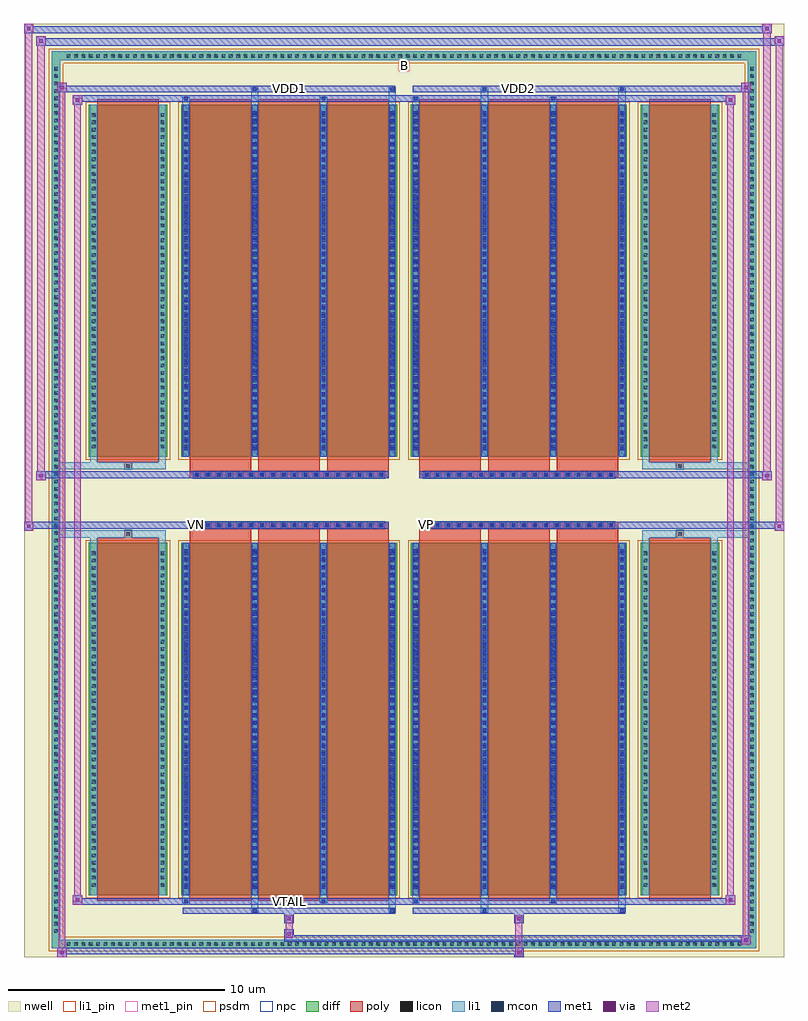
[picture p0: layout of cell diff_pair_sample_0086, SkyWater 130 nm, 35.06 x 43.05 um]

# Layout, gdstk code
import gdstk
lib = gdstk.Library(unit=1e-6, precision=5e-09)
def R(c, l, rs):  # rectangles x0, y0, x1, y1
    for r in rs: c.add(gdstk.rectangle(r[:2], r[2:], *l))
def A(c, l, x, y, w, h, nx, ny, dx, dy):  # array of equal rectangles
    R(c, l, [(x+i*dx, y+j*dy, x+i*dx+w, y+j*dy+h) for i in range(nx) for j in range(ny)])
def P(c, l, *ps):  # polygons
    for p in ps: c.add(gdstk.Polygon(p, *l))
nwell = (64, 20)
diff = (65, 20)
poly = (66, 20)
licon = (66, 44)
li1_pin = (67, 16)
li1 = (67, 20)
mcon = (67, 44)
met1_pin = (68, 16)
met1 = (68, 20)
via = (68, 44)
met2 = (69, 20)
psdm = (94, 20)
npc = (95, 20)

diff_pair_sample_0086 = lib.new_cell('diff_pair_sample_0086')
R(diff_pair_sample_0086, nwell, [(-17.53,-21.09,17.53,21.96), (-14.85,-19.28,-0.01,-0.8), (0.01,-19.28,14.85,-0.8), (-14.85,0.8,-0.01,19.28), (0.01,0.8,14.85,19.28)])
A(diff_pair_sample_0086, diff, -15.675, -20.69, 0.41, 0.41, 92, 2, 0.34, 40.97)
A(diff_pair_sample_0086, diff, -16.26, -20.095, 0.41, 0.41, 1, 118, 0, 0.34)
A(diff_pair_sample_0086, diff, 15.85, -20.095, 0.41, 0.41, 1, 118, 0, 0.34)
R(diff_pair_sample_0086, diff, [(-15.675,-20.69,15.675,-20.28), (-16.26,-20.095,-15.85,20.095), (15.85,-20.095,16.26,20.095), (-14.54,-18.235,-10.92,-1.985), (-10.28,-18.235,-0.32,-1.985), (0.32,-18.235,10.28,-1.985), (10.92,-18.235,14.54,-1.985), (-14.54,1.985,-10.92,18.235), (-10.28,1.985,-0.32,18.235), (0.32,1.985,10.28,18.235), (10.92,1.985,14.54,18.235), (-15.675,20.28,15.675,20.69)])
P(diff_pair_sample_0086, diff, [(16.26,20.69),(-16.26,20.69),(-16.26,-20.28),(-15.85,-20.28),(-15.85,20.28),(15.85,20.28),(15.85,-20.28),(-15.85,-20.28),(-16.26,-20.28),(-16.26,-20.69),(16.26,-20.69)])
A(diff_pair_sample_0086, poly, -9.89, -18.485, 2.84, 16.75, 3, 2, 3.17, 20.22)
A(diff_pair_sample_0086, poly, 0.71, -18.485, 2.84, 16.75, 3, 2, 3.17, 20.22)
A(diff_pair_sample_0086, poly, -9.89, -1.735, 2.84, 0.405, 3, 2, 3.17, 3.065)
A(diff_pair_sample_0086, poly, 0.71, -1.735, 2.84, 0.405, 3, 2, 3.17, 3.065)
A(diff_pair_sample_0086, poly, -9.715, -1.33, 0.33, 0.33, 18, 2, 0.5, 2.33)
A(diff_pair_sample_0086, poly, 0.885, -1.33, 0.33, 0.33, 18, 2, 0.5, 2.33)
R(diff_pair_sample_0086, poly, [(-14.15,-18.485,-11.31,-1.735), (11.31,-18.485,14.15,-1.735), (-12.895,-1.735,-12.565,-1.405), (-12.895,-1.735,-12.565,-1.405), (12.565,-1.735,12.895,-1.405), (12.565,-1.735,12.895,-1.405), (-9.89,-1.33,-0.71,-1), (0.71,-1.33,9.89,-1), (-9.89,1,-0.71,1.33), (0.71,1,9.89,1.33), (-12.895,1.405,-12.565,1.735), (-12.895,1.405,-12.565,1.735), (12.565,1.405,12.895,1.735), (12.565,1.405,12.895,1.735), (-14.15,1.735,-11.31,18.485), (11.31,1.735,14.15,18.485)])
A(diff_pair_sample_0086, licon, -15.555, -20.57, 0.17, 0.17, 92, 2, 0.34, 40.97)
A(diff_pair_sample_0086, licon, -16.14, -19.975, 0.17, 0.17, 1, 118, 0, 0.34)
A(diff_pair_sample_0086, licon, 15.97, -19.975, 0.17, 0.17, 1, 118, 0, 0.34)
A(diff_pair_sample_0086, licon, -14.4, -17.845, 0.17, 0.17, 1, 46, 0, 0.34)
A(diff_pair_sample_0086, licon, -11.23, -17.845, 0.17, 0.17, 1, 46, 0, 0.34)
A(diff_pair_sample_0086, licon, -10.14, -17.845, 0.17, 0.17, 4, 46, 3.17, 0.34)
A(diff_pair_sample_0086, licon, 0.46, -17.845, 0.17, 0.17, 4, 46, 3.17, 0.34)
A(diff_pair_sample_0086, licon, 11.06, -17.845, 0.17, 0.17, 1, 46, 0, 0.34)
A(diff_pair_sample_0086, licon, 14.23, -17.845, 0.17, 0.17, 1, 46, 0, 0.34)
A(diff_pair_sample_0086, licon, -9.635, -1.25, 0.17, 0.17, 18, 2, 0.5, 2.33)
A(diff_pair_sample_0086, licon, 0.965, -1.25, 0.17, 0.17, 18, 2, 0.5, 2.33)
A(diff_pair_sample_0086, licon, -14.4, 2.375, 0.17, 0.17, 1, 46, 0, 0.34)
A(diff_pair_sample_0086, licon, -11.23, 2.375, 0.17, 0.17, 1, 46, 0, 0.34)
A(diff_pair_sample_0086, licon, -10.14, 2.375, 0.17, 0.17, 4, 46, 3.17, 0.34)
A(diff_pair_sample_0086, licon, 0.46, 2.375, 0.17, 0.17, 4, 46, 3.17, 0.34)
A(diff_pair_sample_0086, licon, 11.06, 2.375, 0.17, 0.17, 1, 46, 0, 0.34)
A(diff_pair_sample_0086, licon, 14.23, 2.375, 0.17, 0.17, 1, 46, 0, 0.34)
R(diff_pair_sample_0086, licon, [(-12.815,-1.655,-12.645,-1.485), (12.645,-1.655,12.815,-1.485), (-12.815,1.485,-12.645,1.655), (12.645,1.485,12.815,1.655)])
R(diff_pair_sample_0086, li1_pin, [(-0.25,19.78,0.25,20.28)])
A(diff_pair_sample_0086, li1, -15.635, -20.65, 0.33, 0.33, 92, 2, 0.34, 40.97)
A(diff_pair_sample_0086, li1, -16.22, -20.055, 0.33, 0.33, 1, 118, 0, 0.34)
A(diff_pair_sample_0086, li1, 15.89, -20.055, 0.33, 0.33, 1, 118, 0, 0.34)
A(diff_pair_sample_0086, li1, -10.22, -18.235, 0.33, 16.25, 4, 2, 3.17, 20.22)
A(diff_pair_sample_0086, li1, 0.38, -18.235, 0.33, 16.25, 4, 2, 3.17, 20.22)
A(diff_pair_sample_0086, li1, -10.14, -17.935, 0.17, 0.17, 4, 44, 3.17, 0.36)
A(diff_pair_sample_0086, li1, -10.14, -17.935, 0.17, 15.65, 4, 2, 3.17, 20.22)
A(diff_pair_sample_0086, li1, 0.46, -17.935, 0.17, 0.17, 4, 44, 3.17, 0.36)
A(diff_pair_sample_0086, li1, 0.46, -17.935, 0.17, 15.65, 4, 2, 3.17, 20.22)
A(diff_pair_sample_0086, li1, -14.48, -17.925, 0.33, 0.33, 1, 46, 0, 0.34)
A(diff_pair_sample_0086, li1, -11.31, -17.925, 0.33, 0.33, 1, 46, 0, 0.34)
A(diff_pair_sample_0086, li1, -10.22, -17.925, 0.33, 0.33, 4, 46, 3.17, 0.34)
A(diff_pair_sample_0086, li1, 0.38, -17.925, 0.33, 0.33, 4, 46, 3.17, 0.34)
A(diff_pair_sample_0086, li1, 10.98, -17.925, 0.33, 0.33, 1, 46, 0, 0.34)
A(diff_pair_sample_0086, li1, 14.15, -17.925, 0.33, 0.33, 1, 46, 0, 0.34)
A(diff_pair_sample_0086, li1, -9.715, -1.33, 0.33, 0.33, 18, 2, 0.5, 2.33)
A(diff_pair_sample_0086, li1, 0.885, -1.33, 0.33, 0.33, 18, 2, 0.5, 2.33)
A(diff_pair_sample_0086, li1, -10.14, 2.285, 0.17, 0.17, 4, 44, 3.17, 0.36)
A(diff_pair_sample_0086, li1, 0.46, 2.285, 0.17, 0.17, 4, 44, 3.17, 0.36)
A(diff_pair_sample_0086, li1, -14.48, 2.295, 0.33, 0.33, 1, 46, 0, 0.34)
A(diff_pair_sample_0086, li1, -11.31, 2.295, 0.33, 0.33, 1, 46, 0, 0.34)
A(diff_pair_sample_0086, li1, -10.22, 2.295, 0.33, 0.33, 4, 46, 3.17, 0.34)
A(diff_pair_sample_0086, li1, 0.38, 2.295, 0.33, 0.33, 4, 46, 3.17, 0.34)
A(diff_pair_sample_0086, li1, 10.98, 2.295, 0.33, 0.33, 1, 46, 0, 0.34)
A(diff_pair_sample_0086, li1, 14.15, 2.295, 0.33, 0.33, 1, 46, 0, 0.34)
R(diff_pair_sample_0086, li1, [(-16.26,-20.69,-15.85,-20.28), (-16.26,-20.69,-15.85,-20.28), (-15.85,-20.69,15.85,-20.28), (15.85,-20.69,16.26,-20.28), (15.85,-20.69,16.26,-20.28), (-16.26,-20.28,-15.85,20.28), (15.85,-20.28,16.26,20.28), (-7.05,-19.04,-6.72,-18.235), (-6.97,-19.04,-6.8,-18.87), (-0.71,-19.04,-0.38,-18.235), (-0.63,-19.04,-0.46,-18.87), (3.55,-19.04,3.88,-18.235), (3.63,-19.04,3.8,-18.87), (9.89,-19.04,10.22,-18.235), (9.97,-19.04,10.14,-18.87), (-10.22,-18.61,-9.89,-18.235), (-10.14,-18.61,-9.97,-18.44), (-3.88,-18.61,-3.55,-18.235), (-3.8,-18.61,-3.63,-18.44), (0.38,-18.61,0.71,-18.235), (0.46,-18.61,0.63,-18.44), (6.72,-18.61,7.05,-18.235), (6.8,-18.61,6.97,-18.44), (-14.48,-18.235,-14.15,-1.985), (-11.31,-18.235,-10.98,-1.985), (10.98,-18.235,11.31,-1.985), (14.15,-18.235,14.48,-1.985), (-14.48,-1.985,-14.15,-1.405), (-11.31,-1.985,-10.98,-1.405), (10.98,-1.985,11.31,-1.405), (14.15,-1.985,14.48,-1.405), (-16.26,-1.735,-12.895,-1.405), (-14.48,-1.735,-12.895,-1.405), (-12.895,-1.735,-12.565,-1.405), (-12.565,-1.735,-10.98,-1.405), (10.98,-1.735,12.565,-1.405), (12.565,-1.735,12.895,-1.405), (12.565,-1.735,16.26,-1.405), (12.895,-1.735,14.48,-1.405), (-16.26,1.405,-12.895,1.735), (-14.48,1.405,-12.895,1.735), (-14.48,1.405,-14.15,1.985), (-12.895,1.405,-12.565,1.735), (-12.565,1.405,-10.98,1.735), (-11.31,1.405,-10.98,1.985), (10.98,1.405,12.565,1.735), (10.98,1.405,11.31,1.985), (12.565,1.405,12.895,1.735), (12.565,1.405,16.26,1.735), (12.895,1.405,14.48,1.735), (14.15,1.405,14.48,1.985), (-14.48,1.985,-14.15,18.235), (-11.31,1.985,-10.98,18.235), (10.98,1.985,11.31,18.235), (14.15,1.985,14.48,18.235), (-10.22,18.235,-9.89,18.61), (-7.05,18.235,-6.72,19.04), (-3.88,18.235,-3.55,18.61), (-0.71,18.235,-0.38,19.04), (0.38,18.235,0.71,18.61), (3.55,18.235,3.88,19.04), (6.72,18.235,7.05,18.61), (9.89,18.235,10.22,19.04), (-10.14,18.44,-9.97,18.61), (-3.8,18.44,-3.63,18.61), (0.46,18.44,0.63,18.61), (6.8,18.44,6.97,18.61), (-6.97,18.87,-6.8,19.04), (-0.63,18.87,-0.46,19.04), (3.63,18.87,3.8,19.04), (9.97,18.87,10.14,19.04), (-16.26,20.28,-15.85,20.69), (-16.26,20.28,-15.85,20.69), (-15.85,20.28,15.85,20.69), (15.85,20.28,16.26,20.69), (15.85,20.28,16.26,20.69)])
A(diff_pair_sample_0086, mcon, -10.14, -17.935, 0.17, 0.17, 4, 44, 3.17, 0.36)
A(diff_pair_sample_0086, mcon, 0.46, -17.935, 0.17, 0.17, 4, 44, 3.17, 0.36)
A(diff_pair_sample_0086, mcon, -9.635, -1.25, 0.17, 0.17, 18, 2, 0.5, 2.33)
A(diff_pair_sample_0086, mcon, 0.965, -1.25, 0.17, 0.17, 18, 2, 0.5, 2.33)
A(diff_pair_sample_0086, mcon, -10.14, 2.285, 0.17, 0.17, 4, 44, 3.17, 0.36)
A(diff_pair_sample_0086, mcon, 0.46, 2.285, 0.17, 0.17, 4, 44, 3.17, 0.36)
R(diff_pair_sample_0086, mcon, [(-6.97,-19.04,-6.8,-18.87), (-0.63,-19.04,-0.46,-18.87), (3.63,-19.04,3.8,-18.87), (9.97,-19.04,10.14,-18.87), (-10.14,-18.61,-9.97,-18.44), (-3.8,-18.61,-3.63,-18.44), (0.46,-18.61,0.63,-18.44), (6.8,-18.61,6.97,-18.44), (-10.14,18.44,-9.97,18.61), (-3.8,18.44,-3.63,18.61), (0.46,18.44,0.63,18.61), (6.8,18.44,6.97,18.61), (-6.97,18.87,-6.8,19.04), (-0.63,18.87,-0.46,19.04), (3.63,18.87,3.8,19.04), (9.97,18.87,10.14,19.04)])
R(diff_pair_sample_0086, met1_pin, [(-5.435,-18.65,-5.165,-18.38), (-9.685,-1.29,-9.415,-1.02), (0.915,-1.29,1.185,-1.02), (-5.435,18.83,-5.165,19.1), (5.165,18.83,5.435,19.1)])
A(diff_pair_sample_0086, met1, -10.2, -18.235, 0.29, 16.25, 4, 2, 3.17, 20.22)
A(diff_pair_sample_0086, met1, 0.4, -18.235, 0.29, 16.25, 4, 2, 3.17, 20.22)
A(diff_pair_sample_0086, met1, -10.2, -17.995, 0.29, 0.29, 4, 44, 3.17, 0.36)
A(diff_pair_sample_0086, met1, 0.4, -17.995, 0.29, 0.29, 4, 44, 3.17, 0.36)
A(diff_pair_sample_0086, met1, -9.695, -1.31, 0.29, 0.29, 18, 2, 0.5, 2.33)
A(diff_pair_sample_0086, met1, 0.905, -1.31, 0.29, 0.29, 18, 2, 0.5, 2.33)
A(diff_pair_sample_0086, met1, -10.2, 2.225, 0.29, 0.29, 4, 44, 3.17, 0.36)
A(diff_pair_sample_0086, met1, 0.4, 2.225, 0.29, 0.29, 4, 44, 3.17, 0.36)
R(diff_pair_sample_0086, met1, [(-15.99,-21.09,-15.56,-20.66), (5.085,-21.09,5.515,-20.66), (-15.99,-20.95,5.515,-20.66), (15.56,-20.52,15.99,-20.09), (-5.515,-20.38,15.99,-20.09), (-5.515,-20.24,-5.085,-19.81), (-5.515,-19.53,-5.085,-19.1), (5.085,-19.53,5.515,-19.1), (-10.2,-19.1,-0.4,-18.81), (-7.03,-19.1,-6.74,-18.81), (-0.69,-19.1,-0.4,-18.81), (0.4,-19.1,10.2,-18.81), (3.57,-19.1,3.86,-18.81), (9.91,-19.1,10.2,-18.81), (-15.28,-18.67,-14.85,-18.24), (-15.28,-18.67,-10.2,-18.38), (-10.2,-18.67,-9.91,-18.38), (-10.2,-18.67,-0.4,-18.38), (-3.86,-18.67,-3.57,-18.38), (-0.4,-18.67,0.4,-18.38), (0.4,-18.67,0.69,-18.38), (0.4,-18.67,10.2,-18.38), (6.74,-18.67,7.03,-18.38), (10.2,-18.67,15.28,-18.38), (14.85,-18.67,15.28,-18.24), (-17.53,-1.43,-17.1,-1), (17.1,-1.43,17.53,-1), (-17.53,-1.33,-0.71,-1), (-9.89,-1.33,-0.71,-1), (0.71,-1.33,9.89,-1), (0.71,-1.33,17.53,-1), (-16.96,0.9,-16.53,1.33), (16.53,0.9,16.96,1.33), (-16.96,1,-9.89,1.33), (-9.89,1,-0.71,1.33), (0.71,1,9.89,1.33), (9.89,1,16.96,1.33), (-15.28,18.24,-14.85,18.67), (14.85,18.24,15.28,18.67), (-15.28,18.38,-10.2,18.67), (-10.2,18.38,-9.91,18.67), (-10.2,18.38,-0.4,18.67), (-3.86,18.38,-3.57,18.67), (-0.4,18.38,0.4,18.67), (0.4,18.38,0.69,18.67), (0.4,18.38,10.2,18.67), (6.74,18.38,7.03,18.67), (10.2,18.38,15.28,18.67), (-15.99,18.81,-15.56,19.24), (-15.99,18.81,-10.2,19.1), (-10.2,18.81,-0.4,19.1), (-7.03,18.81,-6.74,19.1), (-0.69,18.81,-0.4,19.1), (0.4,18.81,10.2,19.1), (3.57,18.81,3.86,19.1), (9.91,18.81,10.2,19.1), (10.2,18.81,15.99,19.1), (15.56,18.81,15.99,19.24), (-16.96,20.96,-16.53,21.39), (-16.96,20.96,-14.85,21.29), (-14.85,20.96,14.85,21.29), (14.85,20.96,17.53,21.29), (17.1,20.96,17.53,21.39), (-17.53,21.53,-17.1,21.96), (-17.53,21.53,-14.85,21.86), (-14.85,21.53,14.85,21.86), (14.85,21.53,16.96,21.86), (16.53,21.53,16.96,21.96)])
R(diff_pair_sample_0086, via, [(-15.85,-20.95,-15.7,-20.8), (5.225,-20.95,5.375,-20.8), (15.7,-20.38,15.85,-20.23), (-5.375,-20.1,-5.225,-19.95), (-5.375,-19.39,-5.225,-19.24), (5.225,-19.39,5.375,-19.24), (-15.14,-18.53,-14.99,-18.38), (14.99,-18.53,15.14,-18.38), (-17.39,-1.29,-17.24,-1.14), (17.24,-1.29,17.39,-1.14), (-16.82,1.04,-16.67,1.19), (16.67,1.04,16.82,1.19), (-15.14,18.38,-14.99,18.53), (14.99,18.38,15.14,18.53), (-15.85,18.95,-15.7,19.1), (15.7,18.95,15.85,19.1), (-16.82,21.1,-16.67,21.25), (17.24,21.1,17.39,21.25), (-17.39,21.67,-17.24,21.82), (16.67,21.67,16.82,21.82)])
R(diff_pair_sample_0086, met2, [(-15.99,-21.09,-15.56,-20.66), (-15.92,-21.09,-15.63,19.24), (-15.63,-21.09,-15.56,-20.66), (-15.94,-21.04,-15.61,-20.71), (5.135,-21.04,5.465,-20.71), (5.135,-20.71,5.465,-19.48), (15.56,-20.52,15.99,-20.09), (15.63,-20.52,15.92,19.24), (15.92,-20.52,15.99,-20.09), (15.61,-20.47,15.94,-20.14), (-5.465,-20.19,-5.135,-19.86), (-5.465,-19.86,-5.135,-19.48), (-5.465,-19.48,-5.135,-19.15), (5.135,-19.48,5.465,-19.15), (-15.28,-18.67,-14.85,-18.24), (-15.21,-18.67,-14.92,18.67), (-14.92,-18.67,-14.85,-18.24), (14.85,-18.67,15.28,-18.24), (14.92,-18.67,15.21,18.67), (15.21,-18.67,15.28,-18.24), (-15.23,-18.62,-14.9,-18.29), (14.9,-18.62,15.23,-18.29), (-17.53,-1.43,-17.1,-1), (-17.48,-1.43,-17.15,21.96), (-17.15,-1.43,-17.1,-1), (17.1,-1.43,17.53,-1), (17.15,-1.43,17.48,21.39), (17.48,-1.43,17.53,-1), (-17.48,-1.38,-17.15,-1.05), (17.15,-1.38,17.48,-1.05), (-16.96,0.9,-16.53,1.33), (-16.91,0.9,-16.58,21.39), (-16.58,0.9,-16.53,1.33), (16.53,0.9,16.96,1.33), (16.58,0.9,16.91,21.96), (16.91,0.9,16.96,1.33), (-16.91,0.95,-16.58,1.28), (16.58,0.95,16.91,1.28), (-15.28,18.24,-14.85,18.67), (-14.92,18.24,-14.85,18.67), (14.85,18.24,15.28,18.67), (15.21,18.24,15.28,18.67), (-15.23,18.29,-14.9,18.62), (14.9,18.29,15.23,18.62), (-15.99,18.81,-15.56,19.24), (-15.63,18.81,-15.56,19.24), (15.56,18.81,15.99,19.24), (15.92,18.81,15.99,19.24), (-15.94,18.86,-15.61,19.19), (15.61,18.86,15.94,19.19), (-16.96,20.96,-16.53,21.39), (-16.58,20.96,-16.53,21.39), (17.1,20.96,17.53,21.39), (17.48,20.96,17.53,21.39), (-16.91,21.01,-16.58,21.34), (17.15,21.01,17.48,21.34), (-17.53,21.53,-17.1,21.96), (-17.15,21.53,-17.1,21.96), (16.53,21.53,16.96,21.96), (16.91,21.53,16.96,21.96), (-17.48,21.58,-17.15,21.91), (16.58,21.58,16.91,21.91)])
R(diff_pair_sample_0086, psdm, [(-14.67,-18.365,-10.79,-1.855), (-10.41,-18.365,-0.19,-1.855), (0.19,-18.365,10.41,-1.855), (10.79,-18.365,14.67,-1.855), (-14.67,1.855,-10.79,18.365), (-10.41,1.855,-0.19,18.365), (0.19,1.855,10.41,18.365), (10.79,1.855,14.67,18.365)])
P(diff_pair_sample_0086, psdm, [(16.39,20.82),(-16.39,20.82),(-16.39,-20.15),(-15.72,-20.15),(-15.72,20.15),(15.72,20.15),(15.72,-20.15),(-15.72,-20.15),(-16.39,-20.15),(-16.39,-20.82),(16.39,-20.82)])
A(diff_pair_sample_0086, npc, -9.735, -1.35, 0.37, 0.37, 18, 2, 0.5, 2.33)
A(diff_pair_sample_0086, npc, 0.865, -1.35, 0.37, 0.37, 18, 2, 0.5, 2.33)
R(diff_pair_sample_0086, npc, [(-12.915,-1.755,-12.545,-1.385), (12.545,-1.755,12.915,-1.385), (-9.735,-1.35,-8.865,-0.98), (-9.735,-1.35,-8.865,-0.98), (-9.235,-1.35,-8.365,-0.98), (-9.235,-1.35,-8.365,-0.98), (-8.735,-1.35,-7.865,-0.98), (-8.735,-1.35,-7.865,-0.98), (-8.235,-1.35,-7.365,-0.98), (-8.235,-1.35,-7.365,-0.98), (-7.735,-1.35,-6.865,-0.98), (-7.735,-1.35,-6.865,-0.98), (-7.235,-1.35,-6.365,-0.98), (-7.235,-1.35,-6.365,-0.98), (-6.735,-1.35,-5.865,-0.98), (-6.735,-1.35,-5.865,-0.98), (-6.235,-1.35,-5.365,-0.98), (-6.235,-1.35,-5.365,-0.98), (-5.735,-1.35,-4.865,-0.98), (-5.735,-1.35,-4.865,-0.98), (-5.235,-1.35,-4.365,-0.98), (-5.235,-1.35,-4.365,-0.98), (-4.735,-1.35,-3.865,-0.98), (-4.735,-1.35,-3.865,-0.98), (-4.235,-1.35,-3.365,-0.98), (-4.235,-1.35,-3.365,-0.98), (-3.735,-1.35,-2.865,-0.98), (-3.735,-1.35,-2.865,-0.98), (-3.235,-1.35,-2.365,-0.98), (-3.235,-1.35,-2.365,-0.98), (-2.735,-1.35,-1.865,-0.98), (-2.735,-1.35,-1.865,-0.98), (-2.235,-1.35,-1.365,-0.98), (-2.235,-1.35,-1.365,-0.98), (-1.735,-1.35,-0.865,-0.98), (-1.735,-1.35,-0.865,-0.98), (0.865,-1.35,1.735,-0.98), (0.865,-1.35,1.735,-0.98), (1.365,-1.35,2.235,-0.98), (1.365,-1.35,2.235,-0.98), (1.865,-1.35,2.735,-0.98), (1.865,-1.35,2.735,-0.98), (2.365,-1.35,3.235,-0.98), (2.365,-1.35,3.235,-0.98), (2.865,-1.35,3.735,-0.98), (2.865,-1.35,3.735,-0.98), (3.365,-1.35,4.235,-0.98), (3.365,-1.35,4.235,-0.98), (3.865,-1.35,4.735,-0.98), (3.865,-1.35,4.735,-0.98), (4.365,-1.35,5.235,-0.98), (4.365,-1.35,5.235,-0.98), (4.865,-1.35,5.735,-0.98), (4.865,-1.35,5.735,-0.98), (5.365,-1.35,6.235,-0.98), (5.365,-1.35,6.235,-0.98), (5.865,-1.35,6.735,-0.98), (5.865,-1.35,6.735,-0.98), (6.365,-1.35,7.235,-0.98), (6.365,-1.35,7.235,-0.98), (6.865,-1.35,7.735,-0.98), (6.865,-1.35,7.735,-0.98), (7.365,-1.35,8.235,-0.98), (7.365,-1.35,8.235,-0.98), (7.865,-1.35,8.735,-0.98), (7.865,-1.35,8.735,-0.98), (8.365,-1.35,9.235,-0.98), (8.365,-1.35,9.235,-0.98), (8.865,-1.35,9.735,-0.98), (8.865,-1.35,9.735,-0.98), (-9.735,0.98,-8.865,1.35), (-9.735,0.98,-8.865,1.35), (-9.235,0.98,-8.365,1.35), (-9.235,0.98,-8.365,1.35), (-8.735,0.98,-7.865,1.35), (-8.735,0.98,-7.865,1.35), (-8.235,0.98,-7.365,1.35), (-8.235,0.98,-7.365,1.35), (-7.735,0.98,-6.865,1.35), (-7.735,0.98,-6.865,1.35), (-7.235,0.98,-6.365,1.35), (-7.235,0.98,-6.365,1.35), (-6.735,0.98,-5.865,1.35), (-6.735,0.98,-5.865,1.35), (-6.235,0.98,-5.365,1.35), (-6.235,0.98,-5.365,1.35), (-5.735,0.98,-4.865,1.35), (-5.735,0.98,-4.865,1.35), (-5.235,0.98,-4.365,1.35), (-5.235,0.98,-4.365,1.35), (-4.735,0.98,-3.865,1.35), (-4.735,0.98,-3.865,1.35), (-4.235,0.98,-3.365,1.35), (-4.235,0.98,-3.365,1.35), (-3.735,0.98,-2.865,1.35), (-3.735,0.98,-2.865,1.35), (-3.235,0.98,-2.365,1.35), (-3.235,0.98,-2.365,1.35), (-2.735,0.98,-1.865,1.35), (-2.735,0.98,-1.865,1.35), (-2.235,0.98,-1.365,1.35), (-2.235,0.98,-1.365,1.35), (-1.735,0.98,-0.865,1.35), (-1.735,0.98,-0.865,1.35), (0.865,0.98,1.735,1.35), (0.865,0.98,1.735,1.35), (1.365,0.98,2.235,1.35), (1.365,0.98,2.235,1.35), (1.865,0.98,2.735,1.35), (1.865,0.98,2.735,1.35), (2.365,0.98,3.235,1.35), (2.365,0.98,3.235,1.35), (2.865,0.98,3.735,1.35), (2.865,0.98,3.735,1.35), (3.365,0.98,4.235,1.35), (3.365,0.98,4.235,1.35), (3.865,0.98,4.735,1.35), (3.865,0.98,4.735,1.35), (4.365,0.98,5.235,1.35), (4.365,0.98,5.235,1.35), (4.865,0.98,5.735,1.35), (4.865,0.98,5.735,1.35), (5.365,0.98,6.235,1.35), (5.365,0.98,6.235,1.35), (5.865,0.98,6.735,1.35), (5.865,0.98,6.735,1.35), (6.365,0.98,7.235,1.35), (6.365,0.98,7.235,1.35), (6.865,0.98,7.735,1.35), (6.865,0.98,7.735,1.35), (7.365,0.98,8.235,1.35), (7.365,0.98,8.235,1.35), (7.865,0.98,8.735,1.35), (7.865,0.98,8.735,1.35), (8.365,0.98,9.235,1.35), (8.365,0.98,9.235,1.35), (8.865,0.98,9.735,1.35), (8.865,0.98,9.735,1.35), (-12.915,1.385,-12.545,1.755), (12.545,1.385,12.915,1.755)])
diff_pair_sample_0086.add(gdstk.Label('VTAIL', (-5.3,-18.515), layer=68, texttype=5))
diff_pair_sample_0086.add(gdstk.Label('VN', (-9.55,-1.155), layer=68, texttype=5))
diff_pair_sample_0086.add(gdstk.Label('VP', (1.05,-1.155), layer=68, texttype=5))
diff_pair_sample_0086.add(gdstk.Label('B', (0,20.03), layer=67, texttype=5))
diff_pair_sample_0086.add(gdstk.Label('VDD2', (5.3,18.965), layer=68, texttype=5))
diff_pair_sample_0086.add(gdstk.Label('VDD1', (-5.3,18.965), layer=68, texttype=5))

lib.write_gds('diff_pair_sample_0086.gds')
